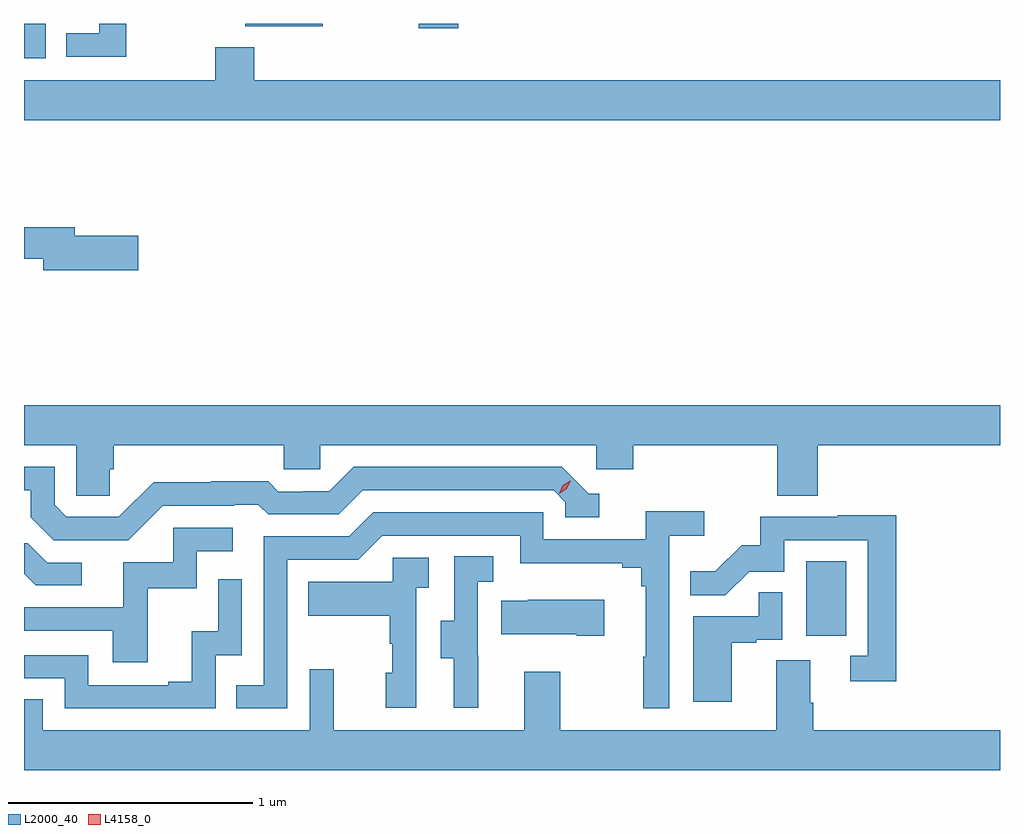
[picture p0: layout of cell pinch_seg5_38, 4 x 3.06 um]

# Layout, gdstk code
import gdstk
lib = gdstk.Library(unit=1e-6, precision=1e-09)
def R(c, l, rs):  # rectangles x0, y0, x1, y1
    for r in rs: c.add(gdstk.rectangle(r[:2], r[2:], *l))
def P(c, l, *ps):  # polygons
    for p in ps: c.add(gdstk.Polygon(p, *l))
L2000_40 = (2000, 40)
L4158_0 = (4158, 0)

pinch_seg5_38 = lib.new_cell('pinch_seg5_38')
R(pinch_seg5_38, L2000_40, [(1104.644,907.926,1104.808,908.233), (1101.439,910.293,1101.528,910.435), (1103.057,910.416,1103.218,910.435), (1102.345,910.424,1102.663,910.435)])
P(pinch_seg5_38, L2000_40, [(1101.859,910.435),(1101.748,910.435),(1101.748,910.396),(1101.613,910.396),(1101.613,910.299),(1101.859,910.299)],
  [(1105.439,910.204),(1102.382,910.204),(1102.382,910.339),(1102.222,910.339),(1102.222,910.204),(1101.439,910.204),(1101.439,910.04),(1105.439,910.04)],
  [(1101.907,909.567),(1101.646,909.567),(1101.646,909.601),(1101.439,909.601),(1101.439,909.472),(1101.518,909.472),(1101.518,909.425),(1101.907,909.425)],
  [(1101.791,908.61),(1101.806,908.61),(1101.806,908.708),(1102.503,908.708),(1102.503,908.61),(1102.653,908.61),(1102.653,908.708),(1103.784,908.708),(1103.784,908.61),(1103.936,908.61),(1103.936,908.708),(1104.527,908.708),(1104.527,908.5),(1104.692,908.5),(1104.692,908.708),(1105.439,908.708),(1105.439,908.872),(1101.439,908.872),(1101.439,908.708),(1101.654,908.708),(1101.654,908.5),(1101.791,908.5)],
  [(1102.008,908.46),(1102.301,908.46),(1102.301,908.463),(1102.4,908.463),(1102.439,908.424),(1102.728,908.424),(1102.827,908.523),(1103.61,908.523),(1103.658,908.475),(1103.658,908.412),(1103.797,908.412),(1103.797,908.508),(1103.754,908.508),(1103.643,908.619),(1102.79,908.619),(1102.691,908.52),(1102.584,908.52),(1102.584,908.517),(1102.481,908.517),(1102.439,908.56),(1102.206,908.56),(1102.206,908.557),(1101.97,908.557),(1101.828,908.415),(1101.612,908.415),(1101.564,908.463),(1101.564,908.619),(1101.439,908.619),(1101.439,908.523),(1101.467,908.523),(1101.467,908.413),(1101.561,908.319),(1101.867,908.319)],
  [(1102.518,908.238),(1102.809,908.238),(1102.908,908.337),(1103.472,908.337),(1103.472,908.225),(1103.891,908.225),(1103.891,908.206),(1103.968,908.206),(1103.968,908.129),(1103.987,908.129),(1103.987,907.841),(1103.976,907.841),(1103.976,907.629),(1104.084,907.629),(1104.084,908.336),(1104.226,908.336),(1104.226,908.438),(1103.987,908.438),(1103.987,908.322),(1103.568,908.322),(1103.568,908.433),(1102.871,908.433),(1102.772,908.334),(1102.422,908.334),(1102.422,907.725),(1102.309,907.725),(1102.309,907.629),(1102.518,907.629)],
  [(1105.013,908.42),(1104.775,908.42),(1104.775,908.415),(1104.457,908.415),(1104.457,908.298),(1104.38,908.298),(1104.273,908.191),(1104.169,908.191),(1104.169,908.092),(1104.313,908.092),(1104.411,908.19),(1104.555,908.19),(1104.555,908.319),(1104.897,908.319),(1104.897,907.845),(1104.825,907.845),(1104.825,907.74),(1105.013,907.74)],
  [(1101.947,908.121),(1102.146,908.121),(1102.146,908.274),(1102.294,908.274),(1102.294,908.37),(1102.05,908.37),(1102.05,908.229),(1101.845,908.229),(1101.845,908.043),(1101.439,908.043),(1101.439,907.947),(1101.803,907.947),(1101.803,907.818),(1101.947,907.818)],
  [(1101.676,908.226),(1101.534,908.226),(1101.454,908.306),(1101.439,908.306),(1101.439,908.182),(1101.488,908.133),(1101.676,908.133)],
  [(1103.3,907.845),(1103.298,907.845),(1103.298,908.149),(1103.362,908.149),(1103.362,908.252),(1103.202,908.252),(1103.202,907.989),(1103.147,907.989),(1103.147,907.834),(1103.201,907.834),(1103.201,907.632),(1103.3,907.632)],
  [(1103.046,908.123),(1103.098,908.123),(1103.098,908.247),(1102.95,908.247),(1102.95,908.149),(1102.603,908.149),(1102.603,908.009),(1102.938,908.009),(1102.938,907.895),(1102.948,907.895),(1102.948,907.776),(1102.922,907.776),(1102.922,907.632),(1103.046,907.632)],
  [(1102.224,907.848),(1102.332,907.848),(1102.332,908.158),(1102.236,908.158),(1102.236,907.946),(1102.127,907.946),(1102.127,907.738),(1102.031,907.738),(1102.031,907.725),(1101.702,907.725),(1101.702,907.848),(1101.439,907.848),(1101.439,907.752),(1101.606,907.752),(1101.606,907.629),(1102.224,907.629)],
  [(1104.34,907.899),(1104.44,907.899),(1104.44,907.911),(1104.546,907.911),(1104.546,908.105),(1104.451,908.105),(1104.451,908.007),(1104.182,908.007),(1104.182,907.656),(1104.34,907.656)],
  [(1103.818,908.074),(1103.503,908.074),(1103.503,908.071),(1103.395,908.071),(1103.395,907.934),(1103.705,907.934),(1103.705,907.927),(1103.818,907.927)],
  [(1105.439,907.54),(1104.674,907.54),(1104.674,907.652),(1104.661,907.652),(1104.661,907.826),(1104.521,907.826),(1104.521,907.54),(1103.637,907.54),(1103.637,907.78),(1103.489,907.78),(1103.489,907.54),(1102.709,907.54),(1102.709,907.789),(1102.611,907.789),(1102.611,907.54),(1101.516,907.54),(1101.516,907.667),(1101.439,907.667),(1101.439,907.376),(1105.439,907.376)])
P(pinch_seg5_38, L4158_0, [(1103.633,908.51),(1103.633,908.511),(1103.648,908.543),(1103.678,908.563),(1103.679,908.563),(1103.679,908.563),(1103.663,908.53),(1103.633,908.51)])

lib.write_gds('pinch_seg5_38.gds')
